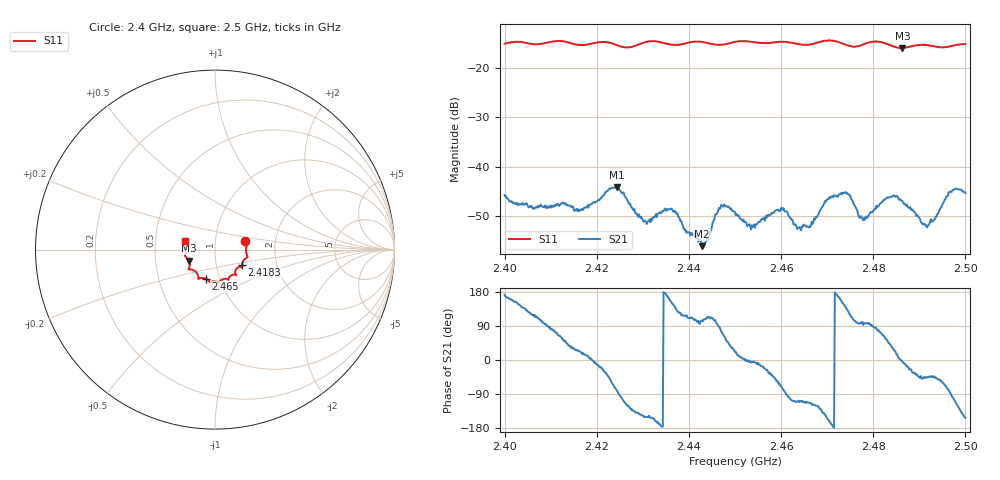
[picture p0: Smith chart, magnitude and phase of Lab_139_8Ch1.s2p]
# Hz S RI R 50
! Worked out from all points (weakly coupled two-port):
!   601 points, 2.4 GHz to 2.5 GHz, reference 50 ohm
!   highest |S21| = -44.09 dB at 2.4243 GHz (marker M1); lowest = -56.0 dB at 2.4428 GHz (marker M2)
!   lowest |S11| = -16.0 dB at 2.4863 GHz (marker M3), VSWR 1.38, Z = 37 - j4.68 ohm
!   |S11| at or under -10 dB: start of sweep to end of sweep
!   S12 and S22 are empty: the file has one direction only
!   S11 on the Smith chart (normalised r, x): 2.4 GHz: 1.40, +0.13; 2.4183 GHz: 1.33, -0.24; 2.465 GHz: 0.86, -0.29; 2.5 GHz: 0.71, +0.07
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2.4e9  0.1689 0.0459  -0.00513 0.000691  0 0  0 0
2.416667e9  0.1549 -0.0685  0.00352 0.00124  0 0  0 0
2.418333e9  0.1497 -0.0869  0.00412 0.000417  0 0  0 0
2.424333e9  0.14 -0.0958  0.00108 -0.00615  0 0  0 0
2.430333e9  0.1148 -0.1389  -0.0025 -0.00138  0 0  0 0
2.433333e9  0.1167 -0.1413  -0.00325 -0.00089  0 0  0 0
2.4365e9  0.0946 -0.1419  -0.00302 0.0019  0 0  0 0
2.442833e9  0.0725 -0.1673  -0.000386 0.00153  0 0  0 0
2.446833e9  0.0455 -0.1645  0.000579 0.0038  0 0  0 0
2.45e9  0.0251 -0.1806  0.00326 0.00125  0 0  0 0
2.453833e9  0.0149 -0.1815  0.00244 -0.000249  0 0  0 0
2.4605e9  -0.0292 -0.181  0.000734 -0.00376  0 0  0 0
2.465e9  -0.0526 -0.1622  -0.000866 -0.00238  0 0  0 0
2.466667e9  -0.0713 -0.1576  -0.00125 -0.00247  0 0  0 0
2.471e9  -0.0923 -0.1639  -0.00498 -0.000769  0 0  0 0
2.4745e9  -0.0983 -0.1359  -0.00345 0.0041  0 0  0 0
2.478e9  -0.1328 -0.1112  -0.000403 0.00299  0 0  0 0
2.483333e9  -0.142 -0.0959  0.0034 0.00348  0 0  0 0
2.486333e9  -0.1456 -0.0616  0.00449 -0.000394  0 0  0 0
2.491667e9  -0.1669 -0.0296  0.00169 -0.00175  0 0  0 0
2.496833e9  -0.163 0.0258  7.68e-05 -0.0056  0 0  0 0
2.5e9  -0.1669 0.047  -0.0048 -0.00249  0 0  0 0
